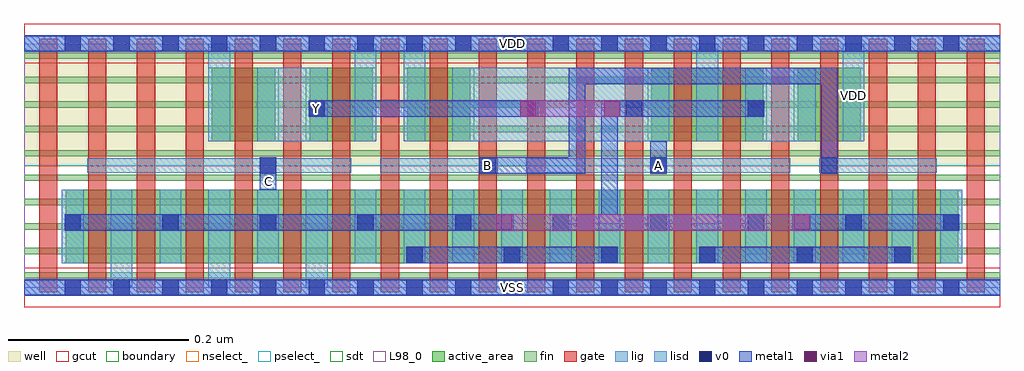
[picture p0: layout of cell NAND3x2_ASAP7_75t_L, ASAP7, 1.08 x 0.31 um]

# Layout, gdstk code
import gdstk
lib = gdstk.Library(unit=1e-6, precision=2.5e-10)
def R(c, l, rs):  # rectangles x0, y0, x1, y1
    for r in rs: c.add(gdstk.rectangle(r[:2], r[2:], *l))
def A(c, l, x, y, w, h, nx, ny, dx, dy):  # array of equal rectangles
    R(c, l, [(x+i*dx, y+j*dy, x+i*dx+w, y+j*dy+h) for i in range(nx) for j in range(ny)])
def P(c, l, *ps):  # polygons
    for p in ps: c.add(gdstk.Polygon(p, *l))
well = (1, 0)
fin = (2, 0)
gate = (7, 0)
gcut = (10, 0)
active_area = (11, 0)
nselect_ = (12, 0)
pselect_ = (13, 0)
lig = (16, 0)
lisd = (17, 0)
v0 = (18, 0)
metal1 = (19, 0)
metal2 = (20, 0)
via1 = (21, 0)
sdt = (88, 0)
L98_0 = (98, 0)
boundary = (100, 0)

nand3x2_asap7_75t_l = lib.new_cell('NAND3x2_ASAP7_75t_L')
R(nand3x2_asap7_75t_l, well, [(0,0.135,1.08,0.27)])
A(nand3x2_asap7_75t_l, fin, 0, 0.01, 1.08, 0.007, 1, 10, 0, 0.027)
A(nand3x2_asap7_75t_l, gate, 0.017, -0.005, 0.02, 0.28, 20, 1, 0.054, 0)
R(nand3x2_asap7_75t_l, gcut, [(0,-0.022,1.08,0.022), (0,0.248,1.08,0.292)])
A(nand3x2_asap7_75t_l, active_area, 0.208, 0.162, 0.07, 0.081, 3, 1, 0.108, 0)
R(nand3x2_asap7_75t_l, active_area, [(0.046,0.027,1.034,0.108), (0.694,0.162,0.818,0.243), (0.856,0.162,0.926,0.243)])
R(nand3x2_asap7_75t_l, nselect_, [(0,0,1.08,0.135)])
R(nand3x2_asap7_75t_l, pselect_, [(0,0.135,1.08,0.27)])
R(nand3x2_asap7_75t_l, lig, [(0,-0.008,1.08,0.008), (0.07,0.127,0.362,0.143), (0.394,0.127,0.524,0.143), (0.556,0.127,0.848,0.143), (0.88,0.127,1.01,0.143), (0,0.262,1.08,0.278)])
A(nand3x2_asap7_75t_l, lisd, 0.096, 0, 0.024, 0.108, 3, 1, 0.108, 0)
A(nand3x2_asap7_75t_l, lisd, 0.042, 0.027, 0.024, 0.081, 4, 1, 0.108, 0)
A(nand3x2_asap7_75t_l, lisd, 0.42, 0.027, 0.024, 0.081, 12, 1, 0.054, 0)
R(nand3x2_asap7_75t_l, lisd, [(0.204,0.162,0.228,0.27), (0.258,0.162,0.336,0.243), (0.366,0.162,0.39,0.27), (0.42,0.162,0.444,0.27), (0.474,0.162,0.714,0.243), (0.744,0.162,0.768,0.27), (0.798,0.162,0.876,0.243), (0.906,0.162,0.93,0.27)])
A(nand3x2_asap7_75t_l, v0, 0.045, -0.009, 0.018, 0.018, 19, 2, 0.054, 0.27)
A(nand3x2_asap7_75t_l, v0, 0.423, 0.027, 0.018, 0.018, 6, 1, 0.108, 0)
A(nand3x2_asap7_75t_l, v0, 0.045, 0.063, 0.018, 0.018, 10, 1, 0.108, 0)
A(nand3x2_asap7_75t_l, v0, 0.504, 0.126, 0.018, 0.018, 3, 1, 0.189, 0)
R(nand3x2_asap7_75t_l, v0, [(0.261,0.126,0.279,0.144), (0.315,0.189,0.333,0.207), (0.666,0.189,0.684,0.207), (0.801,0.189,0.819,0.207)])
R(nand3x2_asap7_75t_l, metal1, [(0,-0.009,1.08,0.009), (0.423,0.027,0.657,0.045), (0.747,0.027,0.981,0.045), (0.045,0.063,0.542,0.081), (0.85,0.063,1.035,0.081), (0.261,0.108,0.279,0.144), (0.693,0.126,0.711,0.162), (0.315,0.189,0.569,0.207), (0,0.261,1.08,0.279)])
P(nand3x2_asap7_75t_l, metal1, [(0.585,0.063),(0.585,0.081),(0.639,0.081),(0.639,0.207),(0.819,0.207),(0.819,0.189),(0.657,0.189),(0.657,0.081),(0.819,0.081),(0.819,0.063)],
  [(0.504,0.126),(0.504,0.144),(0.603,0.144),(0.603,0.243),(0.9,0.243),(0.9,0.126),(0.882,0.126),(0.882,0.225),(0.621,0.225),(0.621,0.126)])
R(nand3x2_asap7_75t_l, metal2, [(0.522,0.063,0.87,0.081), (0.549,0.189,0.66,0.207)])
R(nand3x2_asap7_75t_l, via1, [(0.522,0.063,0.54,0.081), (0.852,0.063,0.87,0.081), (0.549,0.189,0.567,0.207), (0.642,0.189,0.66,0.207)])
A(nand3x2_asap7_75t_l, sdt, 0.042, 0.027, 0.024, 0.081, 19, 1, 0.054, 0)
A(nand3x2_asap7_75t_l, sdt, 0.204, 0.162, 0.024, 0.081, 6, 1, 0.054, 0)
A(nand3x2_asap7_75t_l, sdt, 0.69, 0.162, 0.024, 0.081, 5, 1, 0.054, 0)
R(nand3x2_asap7_75t_l, L98_0, [(0,0,1.08,0.27)])
R(nand3x2_asap7_75t_l, boundary, [(0,0,1.08,0.27)])
nand3x2_asap7_75t_l.add(gdstk.Label('B', (0.513,0.135), layer=19, texttype=251))
nand3x2_asap7_75t_l.add(gdstk.Label('Y', (0.324,0.198), layer=19, texttype=251))
nand3x2_asap7_75t_l.add(gdstk.Label('A', (0.702,0.135), layer=19, texttype=251))
nand3x2_asap7_75t_l.add(gdstk.Label('C', (0.27,0.117), layer=19, texttype=251))
nand3x2_asap7_75t_l.add(gdstk.Label('VSS', (0.54,0), layer=19, texttype=251))
nand3x2_asap7_75t_l.add(gdstk.Label('VDD', (0.54,0.27), layer=19, texttype=251))
nand3x2_asap7_75t_l.add(gdstk.Label('VDD', (0.918,0.213), layer=1, texttype=251))
nand3x2_asap7_75t_l.add(gdstk.Label('VSS', (1.242,0.213), layer=3, texttype=251))

lib.write_gds('NAND3x2_ASAP7_75t_L.gds')
